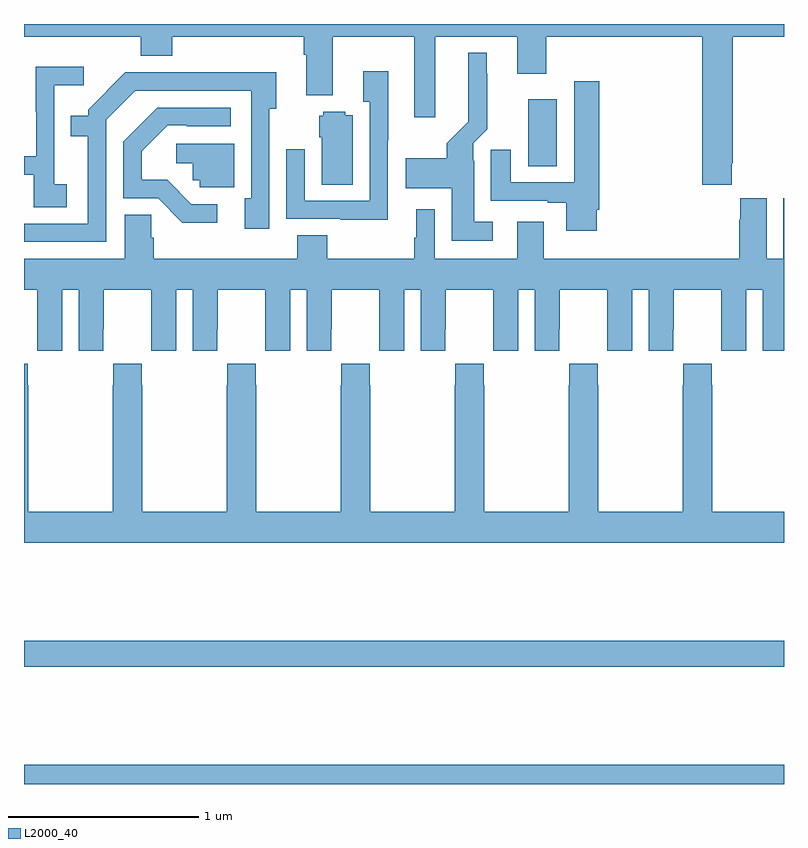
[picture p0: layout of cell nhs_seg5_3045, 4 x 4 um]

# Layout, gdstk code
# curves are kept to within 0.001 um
import gdstk
lib = gdstk.Library(unit=1e-6, precision=1e-09)
def R(c, l, rs):  # rectangles x0, y0, x1, y1
    for r in rs: c.add(gdstk.rectangle(r[:2], r[2:], *l))
def P(c, l, *ps):  # polygons
    for p in ps: c.add(gdstk.Polygon(p, *l))
L2000_40 = (2000, 40)

nhs_seg5_3045 = lib.new_cell('nhs_seg5_3045')
R(nhs_seg5_3045, L2000_40, [(287,880.799,291,880.9), (287,881.416,291,881.552), (289.655,884.05,289.804,884.404)])
P(nhs_seg5_3045, L2000_40, [(290.725,884.065),(290.73,884.065),(290.73,884.732),(291,884.732),(291,884.799),(287,884.799),(287,884.732),(287.615,884.732),(287.615,884.633),(287.78,884.633),(287.78,884.732),(288.473,884.732),(288.473,884.636),(288.485,884.636),(288.485,884.423),(288.625,884.423),(288.625,884.732),(289.055,884.732),(289.055,884.307),(289.165,884.307),(289.165,884.732),(289.595,884.732),(289.595,884.538),(289.748,884.538),(289.748,884.732),(290.57,884.732),(290.57,883.953),(290.725,883.953)],
  [(289.468,883.759),(289.369,883.759),(289.369,884.078),(289.365,884.078),(289.365,884.172),(289.439,884.246),(289.439,884.537),(289.435,884.537),(289.435,884.647),(289.337,884.647),(289.338,884.284),(289.225,884.171),(289.225,884.092),(289.008,884.092),(289.008,883.934),(289.25,883.934),(289.25,883.658),(289.468,883.658)],
  [(287.224,883.956),(287.16,883.956),(287.16,884.477),(287.314,884.477),(287.314,884.575),(287.062,884.575),(287.062,884.336),(287.064,884.336),(287.064,884.103),(287,884.103),(287,884.005),(287.052,884.005),(287.052,883.834),(287.224,883.834)],
  [(288.915,884.188),(288.916,884.188),(288.916,884.551),(288.785,884.551),(288.785,884.39),(288.819,884.39),(288.819,883.869),(288.477,883.869),(288.477,884.14),(288.381,884.14),(288.381,883.773),(288.665,883.773),(288.665,883.769),(288.915,883.769)],
  [(287.433,884.295),(287.586,884.448),(288.195,884.448),(288.195,883.882),(288.161,883.882),(288.161,883.722),(288.291,883.722),(288.291,884.354),(288.328,884.354),(288.328,884.546),(287.863,884.546),(287.863,884.544),(287.532,884.544),(287.337,884.349),(287.337,884.317),(287.245,884.317),(287.245,884.208),(287.336,884.208),(287.336,883.749),(287,883.749),(287,883.653),(287.433,883.653)],
  [(290.014,883.822),(290.027,883.822),(290.027,884.497),(289.895,884.497),(289.895,883.965),(289.561,883.965),(289.561,884.137),(289.457,884.137),(289.457,883.869),(289.757,883.869),(289.757,883.857),(289.853,883.857),(289.853,883.71),(290.014,883.71)],
  [(288.016,883.851),(287.88,883.851),(287.753,883.978),(287.62,883.978),(287.62,884.128),(287.757,884.265),(287.857,884.265),(287.857,884.262),(288.088,884.262),(288.088,884.358),(287.702,884.358),(287.523,884.179),(287.523,883.881),(287.706,883.881),(287.834,883.754),(288.016,883.754)],
  [(288.73,884.32),(288.69,884.32),(288.69,884.338),(288.576,884.338),(288.576,884.316),(288.554,884.316),(288.554,884.202),(288.566,884.202),(288.566,883.954),(288.73,883.954)],
  [(288.106,884.169),(287.802,884.169),(287.802,884.066),(287.889,884.066),(287.889,883.977),(287.925,883.977),(287.925,883.941),(288.106,883.941)],
  [(287.2,883.4),(287.288,883.4),(287.288,883.08),(287.418,883.08),(287.418,883.192),(287.419,883.192),(287.419,883.4),(287.669,883.4),(287.669,883.192),(287.67,883.192),(287.67,883.08),(287.8,883.08),(287.8,883.4),(287.888,883.4),(287.888,883.08),(288.018,883.08),(288.018,883.192),(288.019,883.192),(288.019,883.4),(288.269,883.4),(288.269,883.192),(288.27,883.192),(288.27,883.08),(288.4,883.08),(288.4,883.4),(288.488,883.4),(288.488,883.08),(288.618,883.08),(288.618,883.192),(288.619,883.192),(288.619,883.4),(288.869,883.4),(288.869,883.192),(288.87,883.192),(288.87,883.08),(289,883.08),(289,883.4),(289.088,883.4),(289.088,883.08),(289.218,883.08),(289.218,883.192),(289.219,883.192),(289.219,883.4),(289.469,883.4),(289.469,883.192),(289.47,883.192),(289.47,883.08),(289.6,883.08),(289.6,883.4),(289.688,883.4),(289.688,883.08),(289.818,883.08),(289.818,883.192),(289.819,883.192),(289.819,883.4),(290.069,883.4),(290.069,883.192),(290.07,883.192),(290.07,883.08),(290.2,883.08),(290.2,883.4),(290.288,883.4),(290.288,883.08),(290.418,883.08),(290.418,883.192),(290.419,883.192),(290.419,883.4),(290.669,883.4),(290.669,883.192),(290.67,883.192),(290.67,883.08),(290.8,883.08),(290.8,883.4),(290.888,883.4),(290.888,883.08),(291,883.08),(291,883.882),(290.996,883.882),(290.996,883.564),(290.908,883.564),(290.908,883.882),(290.771,883.882),(290.771,883.769),(290.765,883.769),(290.765,883.564),(289.735,883.564),(289.735,883.759),(289.595,883.759),(289.595,883.564),(289.161,883.564),(289.161,883.825),(289.064,883.825),(289.064,883.673),(289.053,883.673),(289.053,883.564),(288.597,883.564),(288.597,883.688),(288.437,883.688),(288.437,883.564),(287.684,883.564),(287.684,883.674),(287.669,883.674),(287.669,883.796),(287.531,883.796),(287.531,883.564),(287,883.564),(287,883.4),(287.069,883.4),(287.069,883.192),(287.07,883.192),(287.07,883.08),(287.2,883.08)],
  [(291,882.232),(290.622,882.232),(290.622,882.899),(290.619,882.899),(290.619,883.012),(290.469,883.012),(290.469,882.899),(290.467,882.899),(290.467,882.232),(290.022,882.232),(290.022,882.899),(290.019,882.899),(290.019,883.012),(289.869,883.012),(289.869,882.899),(289.867,882.899),(289.867,882.232),(289.422,882.232),(289.422,882.899),(289.419,882.899),(289.419,883.012),(289.269,883.012),(289.269,882.899),(289.267,882.899),(289.267,882.232),(288.822,882.232),(288.822,882.899),(288.819,882.899),(288.819,883.012),(288.669,883.012),(288.669,882.899),(288.667,882.899),(288.667,882.232),(288.222,882.232),(288.222,882.899),(288.219,882.899),(288.219,883.012),(288.069,883.012),(288.069,882.899),(288.067,882.899),(288.067,882.232),(287.622,882.232),(287.622,882.899),(287.619,882.899),(287.619,883.012),(287.469,883.012),(287.469,882.899),(287.467,882.899),(287.467,882.232),(287.022,882.232),(287.022,882.899),(287.019,882.899),(287.019,883.012),(287,883.012),(287,882.068),(291,882.068)])

lib.write_gds('nhs_seg5_3045.gds')
